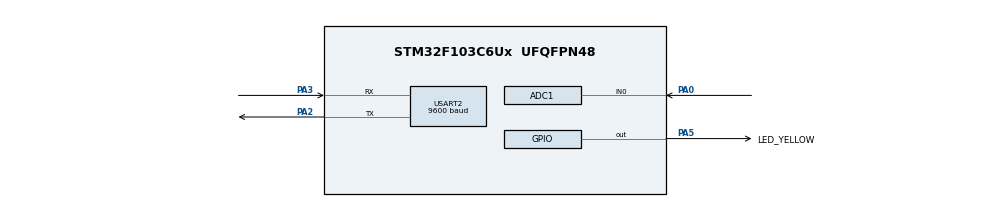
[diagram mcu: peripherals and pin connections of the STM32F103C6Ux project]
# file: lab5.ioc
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ADC1.Channel-1\#ChannelRegularConversion=ADC_CHANNEL_0
ADC1.ContinuousConvMode=ENABLE
ADC1.NbrOfConversionFlag=1
ADC1.Rank-1\#ChannelRegularConversion=1
ADC1.SamplingTime-1\#ChannelRegularConversion=ADC_SAMPLETIME_1CYCLE_5
ADC1.master=1
Mcu.Family=STM32F1
Mcu.Name=STM32F103C6Ux
Mcu.Package=UFQFPN48
NVIC.PriorityGroup=NVIC_PRIORITYGROUP_4
NVIC.TIM2_IRQn=true\:0\:0\:false\:false\:true\:true\:true
NVIC.USART2_IRQn=true\:0\:0\:false\:false\:true\:true\:true
PA0-WKUP.Signal=ADCx_IN0
PA2.Mode=Asynchronous
PA2.Signal=USART2_TX
PA3.Mode=Asynchronous
PA3.Signal=USART2_RX
PA5.GPIO_Label=LED_YELLOW
PA5.Signal=GPIO_Output
PA6.Signal=S_TIM3_CH1
ProjectManager.HeapSize=0x200
ProjectManager.StackSize=0x400
ProjectManager.TargetToolchain=STM32CubeIDE
RCC.APB1Freq_Value=8000000
RCC.APB2Freq_Value=8000000
SH.ADCx_IN0.0=ADC1_IN0,IN0
SH.S_TIM3_CH1.0=TIM3_CH1
TIM2.Period=9
TIM2.Prescaler=7999
TIM3.Period=999
TIM3.Prescaler=63
USART2.BaudRate=9600
USART2.VirtualMode=VM_ASYNC
VP_SYS_VS_ND.Mode=No_Debug
VP_TIM2_VS_ClockSourceINT.Mode=Internal
VP_TIM3_VS_ClockSourceINT.Mode=Internal
board=custom

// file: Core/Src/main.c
/* USER CODE BEGIN Header */
/**
  ******************************************************************************
  * @file           : main.c
  * @brief          : Main program body
  ******************************************************************************
  * @attention
  *
  * <h2><center>&copy; Copyright (c) 2025 STMicroelectronics.
  * All rights reserved.</center></h2>
  *
  * This software component is licensed by ST under BSD 3-Clause license,
  * the "License"; You may not use this file except in compliance with the
  * License. You may obtain a copy of the License at:
  *                        opensource.org/licenses/BSD-3-Clause
  *
  ******************************************************************************
  */
/* USER CODE END Header */
#include "main.h"

/* USER CODE BEGIN Includes */
#include <stdio.h>
#include "software_timer.h"
#include "fsm.h"
/* USER CODE END Includes */

ADC_HandleTypeDef hadc1;

TIM_HandleTypeDef htim2;
TIM_HandleTypeDef htim3;

UART_HandleTypeDef huart2;

void SystemClock_Config(void);
static void MX_GPIO_Init(void);
static void MX_ADC1_Init(void);
static void MX_TIM2_Init(void);
static void MX_TIM3_Init(void);
static void MX_USART2_UART_Init(void);

/* USER CODE BEGIN 0 */
void HAL_UART_RxCpltCallback(UART_HandleTypeDef *huart){
	if(huart->Instance == USART2){
		HAL_UART_Transmit(&huart2, &buffer_byte, 1, 500);
		buffer[index_buffer] = buffer_byte;
		index_buffer++;
		if (index_buffer == MAX_BUFFER_SIZE) index_buffer = 0;
		buffer_flag = 1;
		HAL_UART_Receive_IT(&huart2, &buffer_byte, 1);
	}
}
/* USER CODE END 0 */

int main(void)
{

  /* MCU Configuration--------------------------------------------------------*/

  /* Reset of all peripherals, Initializes the Flash interface and the Systick. */
  HAL_Init();

  /* Configure the system clock */
  SystemClock_Config();

  /* Initialize all configured peripherals */
  MX_GPIO_Init();
  MX_ADC1_Init();
  MX_TIM2_Init();
  MX_TIM3_Init();
  MX_USART2_UART_Init();
  /* USER CODE BEGIN 2 */
  HAL_ADC_Start(&hadc1);
  HAL_TIM_Base_Start_IT(&htim2);
  HAL_UART_Receive_IT(&huart2, &buffer_byte, 1);
  setTimer2(500);
  setTimer3(1000);
  HAL_GPIO_WritePin(LED_YELLOW_GPIO_Port, LED_YELLOW_Pin, 1);
  /* USER CODE END 2 */

  /* Infinite loop */
  while (1)
  {
	  if(buffer_flag == 1){
		  command_parser_fsm(&hadc1, &huart2);
		  buffer_flag = 0;
	  }
	  uart_communication_fsm(&hadc1, &huart2);
	  if(timer3_flag == 1){
	  HAL_GPIO_TogglePin(LED_YELLOW_GPIO_Port, LED_YELLOW_Pin);
	  setTimer3(1000);
	  }
  }
}

void SystemClock_Config(void)
{
  RCC_OscInitTypeDef RCC_OscInitStruct = {0};
  RCC_ClkInitTypeDef RCC_ClkInitStruct = {0};
  RCC_PeriphCLKInitTypeDef PeriphClkInit = {0};

  /** Initializes the RCC Oscillators according to the specified parameters
  * in the RCC_OscInitTypeDef structure.
  */
  RCC_OscInitStruct.OscillatorType = RCC_OSCILLATORTYPE_HSI;
  RCC_OscInitStruct.HSIState = RCC_HSI_ON;
  RCC_OscInitStruct.HSICalibrationValue = RCC_HSICALIBRATION_DEFAULT;
  RCC_OscInitStruct.PLL.PLLState = RCC_PLL_NONE;
  if (HAL_RCC_OscConfig(&RCC_OscInitStruct) != HAL_OK)
  {
    Error_Handler();
  }
  /** Initializes the CPU, AHB and APB buses clocks
  */
  RCC_ClkInitStruct.ClockType = RCC_CLOCKTYPE_HCLK|RCC_CLOCKTYPE_SYSCLK
                              |RCC_CLOCKTYPE_PCLK1|RCC_CLOCKTYPE_PCLK2;
  RCC_ClkInitStruct.SYSCLKSource = RCC_SYSCLKSOURCE_HSI;
  RCC_ClkInitStruct.AHBCLKDivider = RCC_SYSCLK_DIV1;
  RCC_ClkInitStruct.APB1CLKDivider = RCC_HCLK_DIV1;
  RCC_ClkInitStruct.APB2CLKDivider = RCC_HCLK_DIV1;

  if (HAL_RCC_ClockConfig(&RCC_ClkInitStruct, FLASH_LATENCY_0) != HAL_OK)
  {
    Error_Handler();
  }
  PeriphClkInit.PeriphClockSelection = RCC_PERIPHCLK_ADC;
  PeriphClkInit.AdcClockSelection = RCC_ADCPCLK2_DIV2;
  if (HAL_RCCEx_PeriphCLKConfig(&PeriphClkInit) != HAL_OK)
  {
    Error_Handler();
  }
}

static void MX_ADC1_Init(void)
{

  ADC_ChannelConfTypeDef sConfig = {0};

  /** Common config
  */
  hadc1.Instance = ADC1;
  hadc1.Init.ScanConvMode = ADC_SCAN_DISABLE;
  hadc1.Init.ContinuousConvMode = ENABLE;
  hadc1.Init.DiscontinuousConvMode = DISABLE;
  hadc1.Init.ExternalTrigConv = ADC_SOFTWARE_START;
  hadc1.Init.DataAlign = ADC_DATAALIGN_RIGHT;
  hadc1.Init.NbrOfConversion = 1;
  if (HAL_ADC_Init(&hadc1) != HAL_OK)
  {
    Error_Handler();
  }
  /** Configure Regular Channel
  */
  sConfig.Channel = ADC_CHANNEL_0;
  sConfig.Rank = ADC_REGULAR_RANK_1;
  sConfig.SamplingTime = ADC_SAMPLETIME_1CYCLE_5;
  if (HAL_ADC_ConfigChannel(&hadc1, &sConfig) != HAL_OK)
  {
    Error_Handler();
  }

}

static void MX_TIM2_Init(void)
{

  TIM_ClockConfigTypeDef sClockSourceConfig = {0};
  TIM_MasterConfigTypeDef sMasterConfig = {0};

  htim2.Instance = TIM2;
  htim2.Init.Prescaler = 7999;
  htim2.Init.CounterMode = TIM_COUNTERMODE_UP;
  htim2.Init.Period = 9;
  htim2.Init.ClockDivision = TIM_CLOCKDIVISION_DIV1;
  htim2.Init.AutoReloadPreload = TIM_AUTORELOAD_PRELOAD_DISABLE;
  if (HAL_TIM_Base_Init(&htim2) != HAL_OK)
  {
    Error_Handler();
  }
  sClockSourceConfig.ClockSource = TIM_CLOCKSOURCE_INTERNAL;
  if (HAL_TIM_ConfigClockSource(&htim2, &sClockSourceConfig) != HAL_OK)
  {
    Error_Handler();
  }
  sMasterConfig.MasterOutputTrigger = TIM_TRGO_RESET;
  sMasterConfig.MasterSlaveMode = TIM_MASTERSLAVEMODE_DISABLE;
  if (HAL_TIMEx_MasterConfigSynchronization(&htim2, &sMasterConfig) != HAL_OK)
  {
    Error_Handler();
  }

}

static void MX_TIM3_Init(void)
{

  TIM_ClockConfigTypeDef sClockSourceConfig = {0};
  TIM_MasterConfigTypeDef sMasterConfig = {0};

  htim3.Instance = TIM3;
  htim3.Init.Prescaler = 63;
  htim3.Init.CounterMode = TIM_COUNTERMODE_UP;
  htim3.Init.Period = 999;
  htim3.Init.ClockDivision = TIM_CLOCKDIVISION_DIV1;
  htim3.Init.AutoReloadPreload = TIM_AUTORELOAD_PRELOAD_DISABLE;
  if (HAL_TIM_Base_Init(&htim3) != HAL_OK)
  {
    Error_Handler();
  }
  sClockSourceConfig.ClockSource = TIM_CLOCKSOURCE_INTERNAL;
  if (HAL_TIM_ConfigClockSource(&htim3, &sClockSourceConfig) != HAL_OK)
  {
    Error_Handler();
  }
  sMasterConfig.MasterOutputTrigger = TIM_TRGO_RESET;
  sMasterConfig.MasterSlaveMode = TIM_MASTERSLAVEMODE_DISABLE;
  if (HAL_TIMEx_MasterConfigSynchronization(&htim3, &sMasterConfig) != HAL_OK)
  {
    Error_Handler();
  }

}

static void MX_USART2_UART_Init(void)
{

  huart2.Instance = USART2;
  huart2.Init.BaudRate = 9600;
  huart2.Init.WordLength = UART_WORDLENGTH_8B;
  huart2.Init.StopBits = UART_STOPBITS_1;
  huart2.Init.Parity = UART_PARITY_NONE;
  huart2.Init.Mode = UART_MODE_TX_RX;
  huart2.Init.HwFlowCtl = UART_HWCONTROL_NONE;
  huart2.Init.OverSampling = UART_OVERSAMPLING_16;
  if (HAL_UART_Init(&huart2) != HAL_OK)
  {
    Error_Handler();
  }

}

static void MX_GPIO_Init(void)
{
  GPIO_InitTypeDef GPIO_InitStruct = {0};

  /* GPIO Ports Clock Enable */
  __HAL_RCC_GPIOA_CLK_ENABLE();

  /*Configure GPIO pin Output Level */
  HAL_GPIO_WritePin(LED_YELLOW_GPIO_Port, LED_YELLOW_Pin, GPIO_PIN_RESET);

  /*Configure GPIO pin : LED_YELLOW_Pin */
  GPIO_InitStruct.Pin = LED_YELLOW_Pin;
  GPIO_InitStruct.Mode = GPIO_MODE_OUTPUT_PP;
  GPIO_InitStruct.Pull = GPIO_NOPULL;
  GPIO_InitStruct.Speed = GPIO_SPEED_FREQ_LOW;
  HAL_GPIO_Init(LED_YELLOW_GPIO_Port, &GPIO_InitStruct);

}

/* USER CODE BEGIN 4 */
void HAL_TIM_PeriodElapsedCallback(TIM_HandleTypeDef *htim2){
	timerRun();
}
/* USER CODE END 4 */

void Error_Handler(void)
{
  __disable_irq();
  while (1)
  {
  }
}

/************************ (C) COPYRIGHT STMicroelectronics *****END OF FILE****/
